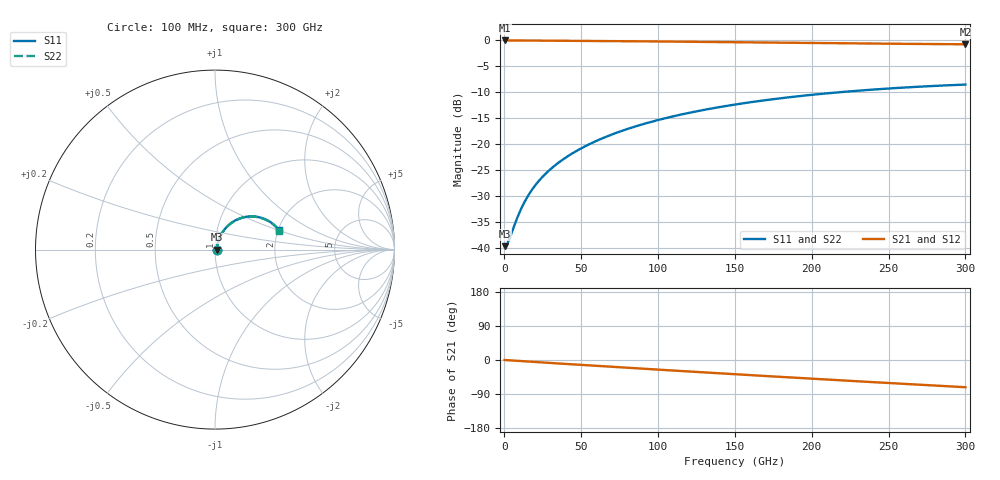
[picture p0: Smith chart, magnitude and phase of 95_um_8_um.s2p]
! Created with skrf (http://scikit-rf.org).
# Hz S RI R 50.0
!freq ReS11 ImS11 ReS21 ImS21 ReS12 ImS12 ReS22 ImS22
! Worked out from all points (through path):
!   3000 points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, 100 MHz to 300 GHz, reference 50 ohm
!   highest |S21| = -0.09 dB at 100 MHz (marker M1); lowest = -0.8 dB at 300 GHz (marker M2)
!   group delay of S21, straight-line fit = 664 fs
!   lowest |S11| = -39.6 dB at 100 MHz (marker M3), VSWR 1.02, Z = 51.1 + j0.0196 ohm
!   |S11| at or under -10 dB: start of sweep to 219.5 GHz
!   |S22| runs from -39.7 to -8.6 dB; largest |S21 - S12| = 0.0012
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1e8  0.0104 0.000192  0.9896 -0.000464  0.9896 -0.000465  0.0104 0.000192
1.4e9  0.0105 0.00269  0.9895 -0.0065  0.9896 -0.00651  0.0104 0.00269
2.8e9  0.0106 0.00537  0.9894 -0.013  0.9895 -0.013  0.0105 0.00537
8.5e9  0.0115 0.0162  0.9882 -0.0393  0.9882 -0.0394  0.0115 0.0162
1.23e10  0.0126 0.0232  0.9868 -0.0566  0.9868 -0.0567  0.0126 0.0232
1.61e10  0.014 0.0301  0.9849 -0.0738  0.9849 -0.0738  0.014 0.03
2.03e10  0.0159 0.0374  0.9825 -0.0924  0.9824 -0.0924  0.0159 0.0372
2.62e10  0.0189 0.0473  0.9785 -0.1183  0.9784 -0.1182  0.0189 0.0471
3.3e10  0.0228 0.0583  0.9731 -0.1476  0.9731 -0.1475  0.0228 0.058
4.1e10  0.028 0.0707  0.9657 -0.1816  0.9658 -0.1816  0.0279 0.0704
5.01e10  0.0348 0.0843  0.9558 -0.2198  0.9558 -0.2199  0.0347 0.084
6.06e10  0.0438 0.0993  0.9423 -0.2631  0.9423 -0.2632  0.0437 0.0989
7.24e10  0.0554 0.1149  0.9247 -0.3104  0.9247 -0.3104  0.0553 0.1144
8.55e10  0.0699 0.1307  0.9024 -0.3611  0.9025 -0.3612  0.0697 0.1301
1.001e11  0.0877 0.1461  0.8742 -0.4155  0.8743 -0.4156  0.0874 0.1454
1.236e11  0.1196 0.1658  0.8221 -0.4973  0.8222 -0.4974  0.1193 0.165
1.501e11  0.1587 0.1799  0.755 -0.5804  0.755 -0.5808  0.1583 0.1791
1.74e11  0.1952 0.185  0.6881 -0.6468  0.6882 -0.6472  0.1947 0.1841
2.001e11  0.2348 0.1825  0.61 -0.7097  0.61 -0.7103  0.2343 0.1816
2.254e11  0.2714 0.1725  0.5303 -0.7614  0.5303 -0.7621  0.2708 0.1716
2.501e11  0.3041 0.1563  0.4502 -0.8034  0.4498 -0.8042  0.3036 0.1554
3e11  0.3573 0.1073  0.2834 -0.8641  0.2825 -0.8647  0.3568 0.1063
